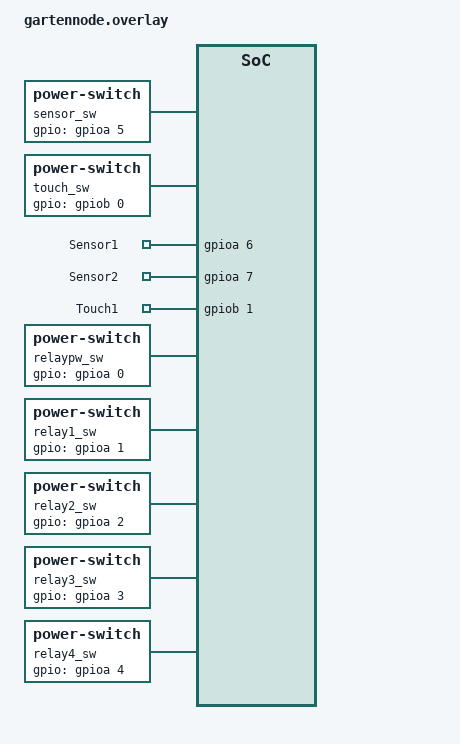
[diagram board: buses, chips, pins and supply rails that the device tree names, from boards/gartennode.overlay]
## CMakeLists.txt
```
cmake_minimum_required(VERSION 3.20.0)

list(APPEND BOARD_ROOT ${CMAKE_CURRENT_SOURCE_DIR})

macro(app_set_runner_args)
  board_runner_args(canopen "--node-id=${CONFIG_CANOPEN_NODE_ID}")
endmacro()

find_package(Zephyr REQUIRED HINTS $ENV{ZEPHYR_BASE})
project(gartennode_wasserverteiler)
FILE(GLOB app_sources src/*.c)
target_sources(app PRIVATE ${app_sources} objdict/CO_OD.c)
zephyr_include_directories(objdict src)
```

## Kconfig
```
#
# Copyright (c) 2019 Vestas Wind Systems A/S
#
# SPDX-License-Identifier: Apache-2.0
#

config CANOPEN_NODE_ID
	int "CANopen node ID"
	default 10
	range 1 127
	help
	  7-bit CANopen Node ID

config WASSERVERTEILER_UPDATE_DIAGNOSTICS
	bool "Record CANopen update timing and reset causes"
	depends on CANOPENNODE_PROGRAM_DOWNLOAD && SOC_FAMILY_STM32
	select HWINFO
	select LOG_RUNTIME_FILTERING
	help
	  Record download progress and callback latency without changing the
	  flash operation. Suppress sensor log noise to preserve diagnostic
	  buffer space. Intended for hardware update regression tests.

# Match Gartennode's scratch layout, not Zephyr's newer offset-swap default.
# Defaults leave native_sim, which does not use MCUboot, unaffected.
choice MCUBOOT_BOOTLOADER_MODE
	default MCUBOOT_BOOTLOADER_MODE_SWAP_SCRATCH if BOARD_GARTENNODE && BOOTLOADER_MCUBOOT
endchoice

config MCUBOOT_IMGTOOL_SIGN_VERSION
	default "0.1.0" if BOARD_GARTENNODE && BOOTLOADER_MCUBOOT

config MCUBOOT_EXTRA_IMGTOOL_ARGS
	default "--pad" if BOARD_GARTENNODE && BOOTLOADER_MCUBOOT

source "Kconfig.zephyr"
```

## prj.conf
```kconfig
# Print a banner on the UART on startup.
CONFIG_BOOT_BANNER=y

CONFIG_LOG=y
CONFIG_LOG_BACKEND_UART=y
CONFIG_CANOPENNODE_LOG_LEVEL_DBG=y
CONFIG_MULTITHREADING=y
CONFIG_WDT_LOG_LEVEL_DBG=y
CONFIG_WDT_DISABLE_AT_BOOT=y
CONFIG_WATCHDOG=y
CONFIG_TASK_WDT=y
CONFIG_TASK_WDT_MIN_TIMEOUT=500
CONFIG_THREAD_NAME=y
CONFIG_HEAP_MEM_POOL_SIZE=1024

CONFIG_GPIO=y
#CONFIG_ADC=y
CONFIG_SENSOR=y
CONFIG_FLASH=y
CONFIG_FLASH_MAP=y
CONFIG_STREAM_FLASH=y
CONFIG_SETTINGS=y
CONFIG_SETTINGS_NVS=y
CONFIG_NVS=y

CONFIG_CAN=y
#CONFIG_CAN_MAX_FILTER=13

CONFIG_MAIN_STACK_SIZE=2048

CONFIG_CANOPENNODE=y
CONFIG_CANOPENNODE_SYNC_THREAD=y
CONFIG_CANOPENNODE_STORAGE=y
CONFIG_MPU_ALLOW_FLASH_WRITE=y
CONFIG_CANOPENNODE_LEDS=y
CONFIG_CANOPENNODE_PROGRAM_DOWNLOAD=y
CONFIG_CANOPEN_NODE_ID=14
CONFIG_SETTINGS_LOG_LEVEL_DBG=y

CONFIG_LOG_PRINTK=y
CONFIG_REBOOT=y
# Enable Zephyr application to be booted by MCUboot
CONFIG_BOOTLOADER_MCUBOOT=y

# PROGRAM_CTRL_CLEAR erases the complete secondary slot before download.
# Do not erase sectors again while handling SDO data.
CONFIG_IMG_ERASE_PROGRESSIVELY=n
CONFIG_STREAM_FLASH_ERASE=n

# Use the default MCUBoot PEM key file (BOOT_SIGNATURE_KEY_FILE)
CONFIG_MCUBOOT_SIGNATURE_KEY_FILE="bootloader/mcuboot/gartennode.pem"
```

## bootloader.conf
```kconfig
# Gartennode has a 192 KiB external secondary slot and a separate scratch area.
CONFIG_BOOT_SWAP_USING_SCRATCH=y
CONFIG_BOOT_SIGNATURE_TYPE_ED25519=y
CONFIG_BOOT_SIGNATURE_KEY_FILE="gartennode.pem"
CONFIG_BOOT_VALIDATE_SLOT0=y
# Bootloader watchdog policy is separate from the application's configuration.
CONFIG_WATCHDOG=n
```

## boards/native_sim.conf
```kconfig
CONFIG_BOOTLOADER_MCUBOOT=n
CONFIG_MCUBOOT_SIGNATURE_KEY_FILE=""
CONFIG_CAN=y
CONFIG_CAN_NATIVE_UDP=y
CONFIG_CAN_NATIVE_UDP_RX_THREAD_PRIORITY=1
CONFIG_CANOPENNODE_SYNC_THREAD=n
CONFIG_CANOPENNODE_PROGRAM_DOWNLOAD=n
CONFIG_CANOPENNODE_STORAGE=n
CONFIG_CANOPEN_NODE_ID=14
CONFIG_FLASH=n
CONFIG_FLASH_PAGE_LAYOUT=n
CONFIG_FLASH_MAP=n
CONFIG_STREAM_FLASH=n
CONFIG_MPU_ALLOW_FLASH_WRITE=n
CONFIG_NVS=n
CONFIG_SETTINGS=n
CONFIG_SETTINGS_NVS=n
CONFIG_SETTINGS_LOG_LEVEL_DBG=n
CONFIG_WATCHDOG=n
CONFIG_WDT_DISABLE_AT_BOOT=n
CONFIG_WDT_LOG_LEVEL_DBG=n
CONFIG_TASK_WDT=n
CONFIG_LOG_BACKEND_UART=n
CONFIG_GPIO=y
CONFIG_EMUL=y
CONFIG_GPIO_EMUL=y
```

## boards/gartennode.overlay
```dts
/*
 * Copyright (c) 2022 Google LLC.
 *
 * SPDX-License-Identifier: Apache-2.0
 */

/ {
	sensor_sw: sensor_sw {
		compatible = "power-switch";
		gpios = <&gpioa 5 (GPIO_PULL_DOWN | GPIO_ACTIVE_HIGH)>;
		status = "okay";
	};
	touch_sw: touch_sw {
		compatible = "power-switch";
		gpios = <&gpiob 0 GPIO_ACTIVE_HIGH>;
		status = "okay";
	};

	buttons {
		compatible = "gpio-keys";
		sensor1: sensor1 {
			gpios = <&gpioa 6 GPIO_ACTIVE_HIGH>;
			label = "Sensor1";
		};
		sensor2: sensor2 {
			gpios = <&gpioa 7 GPIO_ACTIVE_HIGH>;
			label = "Sensor2";
		};
		touch1: touch1 {
			gpios = <&gpiob 1 GPIO_ACTIVE_HIGH>;
			label = "Touch1";
		};
	};

	relaypw_sw: relaypw_sw {
		compatible = "power-switch";
		/* using built-in LED pin for demonstration */
		gpios = <&gpioa 0 (GPIO_PULL_DOWN | GPIO_ACTIVE_HIGH)>;
		status = "okay";
	};
	relay1_sw: relay1_sw {
		compatible = "power-switch";
		/* using built-in LED pin for demonstration */
		gpios = <&gpioa 1 (GPIO_PULL_DOWN | GPIO_ACTIVE_HIGH)>;
		status = "okay";
	};
	relay2_sw: relay2_sw {
		compatible = "power-switch";
		/* using built-in LED pin for demonstration */
		gpios = <&gpioa 2 (GPIO_PULL_DOWN | GPIO_ACTIVE_HIGH)>;
		status = "okay";
	};
	relay3_sw: relay3_sw {
		compatible = "power-switch";
		/* using built-in LED pin for demonstration */
		gpios = <&gpioa 3 (GPIO_PULL_DOWN | GPIO_ACTIVE_HIGH)>;
		status = "okay";
	};
	relay4_sw: relay4_sw {
		compatible = "power-switch";
		/* using built-in LED pin for demonstration */
		gpios = <&gpioa 4 (GPIO_PULL_DOWN | GPIO_ACTIVE_HIGH)>;
		status = "okay";
	};

	aliases {
		green-led = &green_led;
	};
};
```

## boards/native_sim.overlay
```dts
/ {
	chosen {
		zephyr,canbus = &can_udp0;
	};

	can_udp0: udp-can {
		compatible = "zephyr,native-linux-udp-can";
		host = "127.0.0.1";
		port = <46100>;
		local-port = <46112>;
		status = "okay";
	};

	sensor_sw: sensor-switch {
		compatible = "power-switch";
		gpios = <&gpio0 0 GPIO_ACTIVE_HIGH>;
		status = "okay";
	};
	touch_sw: touch-switch {
		compatible = "power-switch";
		gpios = <&gpio0 1 GPIO_ACTIVE_HIGH>;
		status = "okay";
	};
	buttons {
		compatible = "gpio-keys";
		sensor1: sensor1 { gpios = <&gpio0 2 GPIO_ACTIVE_HIGH>; };
		sensor2: sensor2 { gpios = <&gpio0 3 GPIO_ACTIVE_HIGH>; };
		touch1: touch1 { gpios = <&gpio0 4 GPIO_ACTIVE_HIGH>; };
	};
	relaypw_sw: relaypw-switch {
		compatible = "power-switch";
		gpios = <&gpio0 5 GPIO_ACTIVE_HIGH>;
		status = "okay";
	};
	relay1_sw: relay1-switch {
		compatible = "power-switch";
		gpios = <&gpio0 6 GPIO_ACTIVE_HIGH>;
		status = "okay";
	};
	relay2_sw: relay2-switch {
		compatible = "power-switch";
		gpios = <&gpio0 7 GPIO_ACTIVE_HIGH>;
		status = "okay";
	};
	relay3_sw: relay3-switch {
		compatible = "power-switch";
		gpios = <&gpio0 8 GPIO_ACTIVE_HIGH>;
		status = "okay";
	};
	relay4_sw: relay4-switch {
		compatible = "power-switch";
		gpios = <&gpio0 9 GPIO_ACTIVE_HIGH>;
		status = "okay";
	};
};

&gpio0 {
	status = "okay";
};
```

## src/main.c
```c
#if defined(CONFIG_BOARD_NATIVE_SIM)
#define _POSIX_C_SOURCE 200809L
#endif

/*
 * Copyright (c) 2019 Vestas Wind Systems A/S
 *
 * SPDX-License-Identifier: Apache-2.0
 */

#include <inttypes.h>
#include <zephyr/kernel.h>
#include <zephyr/drivers/gpio.h>
#if defined(CONFIG_BOARD_NATIVE_SIM)
#include <zephyr/drivers/gpio/gpio_emul.h>
#endif
#include <zephyr/drivers/can.h>
#include <zephyr/sys/reboot.h>
#include <zephyr/sys/util.h>
#include <string.h>
#include <zephyr/settings/settings.h>
#include <zephyr/drivers/sensor.h>
#include <zephyr/drivers/sensor/w1_sensor.h>
#include <zephyr/storage/flash_map.h>
#include <zephyr/sys/printk.h>
#include <canopennode.h>
#include "native_sim_gpio.h"
#if defined(CONFIG_BOARD_NATIVE_SIM)
#include <time.h>
K_SEM_DEFINE(native_sim_can_rx_wakeup, 0, 1);
#endif
#include "valve.h"
#include "relais.h"
#include "watchdog.h"
#include "update_control.h"
#include "update_diagnostics.h"
#include "sensor.h"
#include "touch.h"
#include "led.h"

#define LOG_LEVEL CONFIG_CANOPENNODE_LOG_LEVEL
#include <zephyr/logging/log.h>
LOG_MODULE_REGISTER(app);

#if defined(CONFIG_BOARD_NATIVE_SIM)
static int64_t native_sim_monotonic_ms(void)
{
	struct timespec now;

	clock_gettime(CLOCK_MONOTONIC, &now);
	return (int64_t)now.tv_sec * 1000 + now.tv_nsec / 1000000;
}

static void native_sim_can_bus_activity(const struct device *dev,
					struct can_frame *frame, void *user_data)
{
	ARG_UNUSED(dev);
	ARG_UNUSED(frame);
	ARG_UNUSED(user_data);
	k_sem_give(&native_sim_can_rx_wakeup);
}

static void native_sim_update_hall_inputs(void)
{
	static const struct gpio_dt_spec hall[] = {
		GPIO_DT_SPEC_GET(DT_NODELABEL(sensor1), gpios),
		GPIO_DT_SPEC_GET(DT_NODELABEL(sensor2), gpios),
	};

	uint8_t states[ARRAY_SIZE(hall)];
	uint8_t hall_override[ARRAY_SIZE(hall)];
	bool has_hall_override = native_sim_gpio_receive_hall(
		hall_override, ARRAY_SIZE(hall_override));

	for (int i = 0; i < ARRAY_SIZE(hall); i++) {
		/* Energized motor windings release the Hall switch during travel. */
		bool moving = OD_relaisState[i * 2] || OD_relaisState[i * 2 + 1];
		bool high = has_hall_override
			? hall_override[i] != 0U
			: moving || OD_valveState[i] != 0U;

		(void)gpio_emul_input_set(hall[i].port, hall[i].pin, high);
		states[i] = (uint8_t)(gpio_pin_get_dt(&hall[i]) > 0);
	}
	native_sim_gpio_publish(46007U, states, ARRAY_SIZE(states));
}
#endif

static CO_SDO_abortCode_t odf_2102(CO_ODF_arg_t *odf_arg);
static CO_SDO_abortCode_t odf_2103(CO_ODF_arg_t *odf_arg);
static CO_SDO_abortCode_t odf_2105(CO_ODF_arg_t *odf_arg);
static CO_SDO_abortCode_t odf_2107(CO_ODF_arg_t *odf_arg);
static CO_SDO_abortCode_t odf_2109(CO_ODF_arg_t *odf_arg);
static CO_SDO_abortCode_t odf_2111(CO_ODF_arg_t *odf_arg);
static CO_SDO_abortCode_t odf_2112(CO_ODF_arg_t *odf_arg);
static CO_SDO_abortCode_t odf_2113(CO_ODF_arg_t *odf_arg);

#define STORAGE_PARTITION	storage_partition
#define STORAGE_PARTITION_ID	FIXED_PARTITION_ID(STORAGE_PARTITION)

#define CAN_INTERFACE DEVICE_DT_GET(DT_CHOSEN(zephyr_canbus))
#define CAN_BITRATE (DT_PROP_OR(DT_CHOSEN(zephyr_canbus), bitrate, \
					  DT_PROP_OR(DT_CHOSEN(zephyr_canbus), bus_speed, \
						     CONFIG_CAN_DEFAULT_BITRATE)) / 1000)


/**
 * @brief Watchdog callback function
 *
 * @param channel_id Watchdog channel ID
 * @param user_data Pointer to user data (thread ID)
 */
static void main_watchdog_callback(int channel_id, void *user_data)
{
    LOG_ERR("Watchdog channel %d callback, user data: %p",
        channel_id, k_thread_name_get((k_tid_t)user_data));
	sys_reboot(SYS_REBOOT_COLD);
}

/**
 * @brief Configure LED indicators pins and callbacks.
 *
 * This routine configures the GPIOs for the red and green LEDs (if
 * available).
 *
 * @param nmt CANopenNode NMT object.
 */
static void initialize()
{
	if (led_init() != 0) {
		LOG_ERR("LED initialization failed");
	}
	if (sensor_init() != 0) {
		LOG_ERR("Sensor initialization failed");
	}
	if (relais_init() != 0) {
		LOG_ERR("Relais initialization failed");
	}
	if (touch_init() != 0) {
		LOG_ERR("Touch initialization failed");
	}
	// if (watchdog_init() != 0) {
	// 	LOG_ERR("Watchdog initialization failed");
	// }
}

/**
 * @brief Set sensor Enable
 *
 * @param odf_arg SDO argument structure.
 * @return SDO abort code.
 */
static CO_SDO_abortCode_t odf_2102(CO_ODF_arg_t *odf_arg)
{
	if (odf_arg->reading) {
		return CO_SDO_AB_NONE;
	}

	uint8_t value;

	if (odf_arg->data == NULL) {
		return CO_SDO_AB_GENERAL;
	}
	value = *odf_arg->data;
	
	int ret = sensor_enable(value);
	LOG_DBG("sensor_enable returned %d", ret);
	if (ret == 0 || ret == 1) {
		return CO_SDO_AB_NONE;
	}
	return CO_SDO_AB_GENERAL;
}

/**
 * @brief Set sensor period
 *
 * @param odf_arg SDO argument structure.
 * @return SDO abort code.
 */
static CO_SDO_abortCode_t odf_2103(CO_ODF_arg_t *odf_arg)
{
	if (odf_arg->reading) {
		return CO_SDO_AB_NONE;
	}
	if (odf_arg->data == NULL) {
		return CO_SDO_AB_GENERAL;
	}
	uint8_t value;
	value = *odf_arg->data;
	LOG_DBG("Set sensor period to %d ms", value);
	return CO_SDO_AB_NONE;
}

/**
 * @brief Set sensor Mapping
 *
 * @param odf_arg SDO argument structure.
 * @return SDO abort code.
 */
static CO_SDO_abortCode_t odf_2105(CO_ODF_arg_t *odf_arg)
{
	if (odf_arg->reading) {
		return CO_SDO_AB_NONE;
	}
	if (odf_arg->data == NULL) {
		return CO_SDO_AB_GENERAL;
	}
	if (odf_arg->subIndex == 0U || odf_arg->subIndex > 2U) {
		return CO_SDO_AB_GENERAL;
	}
	uint8_t value;
	value = *odf_arg->data;
	if (value == 0xFF) {
#ifdef CONFIG_CANOPENNODE_STORAGE
		canopen_storage_erase(CANOPEN_STORAGE_EEPROM);
		return CO_SDO_AB_NONE;
#else
		return CO_SDO_AB_GENERAL;
#endif
	}
	if (value >= 8) {
		LOG_ERR("Mapping value not possible");
		return CO_SDO_AB_GENERAL;
	}
	// memcpy(odf_arg->ODdataStorage, odf_arg->data, sizeof(uint8_t));

	renew_sensor_mapping();
	return CO_SDO_AB_NONE;
}

/**
 * @brief Set relais command
 *
 * @param odf_arg SDO argument structure.
 * @return SDO abort code.
 */
static CO_SDO_abortCode_t odf_2107(CO_ODF_arg_t *odf_arg)
{
	if (odf_arg->data == NULL) {
		return CO_SDO_AB_GENERAL;
	}
	if (odf_arg->subIndex == 0U) {
		return CO_SDO_AB_GENERAL;
	}

	uint8_t value;
	value = *odf_arg->data;
	if (valve_set_state((odf_arg->subIndex - 1)>>1, 0xFF) != 0) {
		return CO_SDO_AB_GENERAL;
	}
	return CO_SDO_AB_NONE;
}

/**
 * @brief Set valve order
 *
 * @param odf_arg SDO argument structure.
 * @return SDO abort code.
 */
static CO_SDO_abortCode_t odf_2109(CO_ODF_arg_t *odf_arg)
{
	if (odf_arg->data == NULL) {
		return CO_SDO_AB_GENERAL;
	}
	if (odf_arg->subIndex == 0U) {
		return CO_SDO_AB_GENERAL;
	}
	if (odf_arg->subIndex > 2) {
		LOG_ERR("SubIndex not possible");
		return CO_SDO_AB_GENERAL;
	}
	uint8_t value;
	value = *odf_arg->data;
	if (valve_order(odf_arg->subIndex - 1, (bool)value) != 0) {
		return CO_SDO_AB_GENERAL;
	}
	return CO_SDO_AB_NONE;
}

/**
 * @brief Set valve routine time
 *
 * @param odf_arg SDO argument structure.
 * @return SDO abort code.
 */
static CO_SDO_abortCode_t odf_2110(CO_ODF_arg_t *odf_arg)
{
	if (odf_arg->reading) {
		return CO_SDO_AB_NONE;
	}
	if (odf_arg->data == NULL) {
		return CO_SDO_AB_GENERAL;
	}
	uint32_t value;
	value = (*(uint32_t *)(odf_arg->data));
	LOG_DBG("Set valve routine time to %"PRIu32" ms", value);
	return CO_SDO_AB_NONE;
}

/**
 * @brief Set valve Mapping
 *
 * @param odf_arg SDO argument structure.
 * @return SDO abort code.
 */
static CO_SDO_abortCode_t odf_2111(CO_ODF_arg_t *odf_arg)
{
	if (odf_arg->reading) {
		return CO_SDO_AB_NONE;
	}
	if (odf_arg->data == NULL) {
		return CO_SDO_AB_GENERAL;
	}
	if (odf_arg->subIndex == 0U || odf_arg->subIndex > 4U) {
		return CO_SDO_AB_GENERAL;
	}
	uint8_t value;
	value = *odf_arg->data;
	if (value >= 4) {
		LOG_ERR("Mapping value not possible");
		return CO_SDO_AB_GENERAL;
	}
	// memcpy(odf_arg->ODdataStorage, odf_arg->data, sizeof(uint8_t));

	return CO_SDO_AB_NONE;
}

/**
 * @brief Set touch Enable
 *
 * @param odf_arg SDO argument structure.
 * @return SDO abort code.
 */
static CO_SDO_abortCode_t odf_2112(CO_ODF_arg_t *odf_arg)
{
	if (odf_arg->reading) {
		return CO_SDO_AB_NONE;
	}

	uint8_t value;

	if (odf_arg->data == NULL) {
		return CO_SDO_AB_GENERAL;
	}
	value = *odf_arg->data;
	LOG_DBG("Set touch enable to %d", value);
	int ret = touch_enable(value);
	LOG_DBG("touch_enable returned %d", ret);
	if (ret == 0 || ret == 1) {
		return CO_SDO_AB_NONE;
	}
	return CO_SDO_AB_GENERAL;
}

/**
 * @brief Set touch valve index
 *
 * @param odf_arg SDO argument structure.
 * @return SDO abort code.
 */
static CO_SDO_abortCode_t odf_2113(CO_ODF_arg_t *odf_arg)
{
	if (odf_arg->reading) {
		return CO_SDO_AB_GENERAL;
	}

	uint8_t value;

	if (odf_arg->data == NULL) {
		return CO_SDO_AB_GENERAL;
	}
	value = *odf_arg->data;
	
	if (value >= 2) {
		return CO_SDO_AB_GENERAL;
	}
	// memcpy(odf_arg->ODdataStorage, odf_arg->data, sizeof(uint8_t));
	return CO_SDO_AB_NONE;
}

/**
 * @brief Main application entry point.
 *
 * The main application thread is responsible for initializing the
 * CANopen stack and doing the non real-time processing.
 */
int main(void)
{
	CO_NMT_reset_cmd_t reset = CO_RESET_NOT;
	CO_ReturnError_t err;
	struct canopen_context can;
	uint16_t timeout;
	uint32_t elapsed;
	int64_t timestamp;
	int task_id = -1;
#ifdef CONFIG_CANOPENNODE_STORAGE
	int ret;
#endif /* CONFIG_CANOPENNODE_STORAGE */
	can.dev = CAN_INTERFACE;
	if (!device_is_ready(can.dev)) {
		LOG_ERR("CAN interface not ready");
		return 0;
	}

#ifdef CONFIG_CANOPENNODE_STORAGE
	LOG_INF("Initializing settings subsystem\n");
	ret = settings_subsys_init();
	if (ret) {
		LOG_ERR("failed to initialize settings subsystem (err = %d)",
			ret);
		int error = 0;
		const struct flash_area *storage = NULL;
		// Open the partition
		error = flash_area_open(PARTITION_ID(storage_partition), &storage);
		if (error < 0) {
			return error;
		}

		// Erase the first sector (e.g., 4KB)
		error = flash_area_erase(storage, 0, PARTITION_SIZE(storage_partition));
		if (error < 0) {
			return error;
		}
		sys_reboot(SYS_REBOOT_COLD);
	}

	ret = settings_load();
	if (ret) {
		LOG_ERR("failed to load settings (err = %d)", ret);
		return 0;
	}
#endif /* CONFIG_CANOPENNODE_STORAGE */

	OD_powerOnCounter++;

	//task_id = watchdog_add(2000, main_watchdog_callback, NULL);
	if (task_id < 0) {
		LOG_ERR("Failed to add watchdog channel");
	}

	while (reset != CO_RESET_APP) {
		elapsed =  0U; /* milliseconds */

		LOG_INF("CANopen stack initialize");
		err = CO_init(&can, CONFIG_CANOPEN_NODE_ID, CAN_BITRATE);
		if (err != CO_ERROR_NO) {
			LOG_ERR("CO_init failed (err = %d)", err);
			return 0;
		}
		LOG_INF("CANopen stack initialized");

#ifdef CONFIG_CANOPENNODE_STORAGE
		canopen_storage_attach(CO->SDO[0], CO->em);
#endif /* CONFIG_CANOPENNODE_STORAGE */

		initialize();
		led_configure(CO->NMT);
		CO_OD_configure(CO->SDO[0], OD_2102_sensorEnable,
				odf_2102, NULL, 0U, 0U);
		CO_OD_configure(CO->SDO[0], OD_2103_sensorPeriode,
				odf_2103, NULL, 0U, 0U);
		CO_OD_configure(CO->SDO[0], OD_2105_sensorMapping,
				odf_2105, NULL, 0U, 0U);
		CO_OD_configure(CO->SDO[0], OD_2107_relaisCmd,
				odf_2107, NULL, 0U, 0U);
		CO_OD_configure(CO->SDO[0], OD_2109_valveCmd,
				odf_2109, NULL, 0U, 0U);
		CO_OD_configure(CO->SDO[0], OD_2110_valveRoutineTime,
				odf_2110, NULL, 0U, 0U);
		CO_OD_configure(CO->SDO[0], OD_2111_valveMapping,
				odf_2111, NULL, 0U, 0U);
		CO_OD_configure(CO->SDO[0], OD_2112_touchEnable,
				odf_2112, NULL, 0U, 0U);
		CO_OD_configure(CO->SDO[0], OD_2113_touchValveIndex,
				odf_2113, NULL, 0U, 0U);

		if (IS_ENABLED(CONFIG_CANOPENNODE_PROGRAM_DOWNLOAD)) {
			canopen_program_download_attach(CO->NMT, CO->SDO[0],
							CO->em);
			wasserverteiler_update_control_attach(CO->SDO[0]);
#if defined(CONFIG_WASSERVERTEILER_UPDATE_DIAGNOSTICS)
			wasserverteiler_update_diagnostics_attach(CO->SDO[0]);
#endif
		}

#if defined(CONFIG_BOARD_NATIVE_SIM)
		const struct can_filter native_sim_wakeup_filter = {
			.id = 0U,
			.mask = 0U,
		};
		int native_sim_wakeup_filter_id =
			can_add_rx_filter(can.dev, native_sim_can_bus_activity, NULL,
					  &native_sim_wakeup_filter);
		if (native_sim_wakeup_filter_id < 0) {
			LOG_ERR("Failed to add native-sim CAN activity filter: %d",
				native_sim_wakeup_filter_id);
		}
#endif

#if defined(CONFIG_BOARD_NATIVE_SIM)
		sensor_enable(true);
#else
		sensor_enable(OD_sensorEnable);
#endif

		CO_CANsetNormalMode(CO->CANmodule[0]);
		struct sCO_OD_EEPROM eeprom_old = CO_OD_EEPROM;

		while (true) {
			timeout = 1U; /* default timeout in milliseconds */
#if defined(CONFIG_BOARD_NATIVE_SIM)
			timestamp = native_sim_monotonic_ms();
#else
			timestamp = k_uptime_get();
#endif
			reset = CO_process(CO, (uint16_t)elapsed, &timeout);

			if (reset != CO_RESET_NOT) {
				break;
			}

			/*
			 * Application work must run regardless of the CANopen stack's
			 * requested sleep timeout. In particular, native-sim can request
			 * immediate processing (timeout == 0) while an SDO valve command
			 * is queued.
			 */
			sensor_process();
			relais_process();
			valve_process();
#if defined(CONFIG_BOARD_NATIVE_SIM)
			native_sim_update_hall_inputs();
			/*
			 * CANopenNode's CO_process() handles SDO/NMT only. The optional
			 * sync thread is disabled in native-sim, so explicitly process
			 * TPDOs here. Do not process RPDOs: valve commands remain SDO-only.
			 */
			CO_process_TPDO(CO, false, elapsed * 1000U);
#endif

			if (timeout > 0) {
#ifdef CONFIG_CANOPENNODE_STORAGE
				ret = memcmp(&eeprom_old, &CO_OD_EEPROM, sizeof(CO_OD_EEPROM));
				if (ret != 0) {
					LOG_DBG("EEPROM changed, saving to flash");
					memcpy(&eeprom_old, &CO_OD_EEPROM, sizeof(CO_OD_EEPROM));
					ret = canopen_storage_save(
						CANOPEN_STORAGE_EEPROM);
					if (ret) {
						LOG_ERR("failed to save EEPROM");
					}
				}

#endif /* CONFIG_CANOPENNODE_STORAGE */
				if (task_id >= 0) {
					int ret = watchdog_feed(task_id);
					if (ret != 0) {
						LOG_ERR("Failed to feed watchdog channel %d: %d", task_id, ret);
					}
				}
				/*
				 * Try to sleep for as long as the
				 * stack requested and calculate the
				 * exact time elapsed.
				 */
#if defined(CONFIG_BOARD_NATIVE_SIM)
				uint32_t wait_ms = MAX(timeout, 10U);
				(void)k_sem_take(&native_sim_can_rx_wakeup, K_MSEC(wait_ms));
				elapsed = (uint32_t)(native_sim_monotonic_ms() - timestamp);
				if (elapsed == 0U) {
					elapsed = 1U;
				}
#else
				k_sleep(K_MSEC(timeout));
				elapsed = (uint32_t)k_uptime_delta(&timestamp);
#endif
			} else {
				/*
				 * Do not sleep, more processing to be
				 * done by the stack.
				 */
#if defined(CONFIG_BOARD_NATIVE_SIM)
				/*
				 * Keep CANopen timers advancing when the stack requests
				 * immediate processing on native_sim.
				 */
				(void)k_sem_take(&native_sim_can_rx_wakeup, K_MSEC(10));
				elapsed = (uint32_t)(native_sim_monotonic_ms() - timestamp);
				if (elapsed == 0U) {
					elapsed = 1U;
				}
#else
				elapsed = 0U;
#endif
			}
		}

        sensor_enable(false);

		if (reset == CO_RESET_COMM) {
			LOG_INF("Resetting communication");
		}
	}
	if (task_id >= 0) {
		int ret = watchdog_delete(task_id);
		if (ret != 0) {
			LOG_ERR("Failed to delete watchdog channel %d: %d", task_id, ret);
		}
	}

	LOG_INF("Resetting device");

	CO_delete(&can);
	sys_reboot(SYS_REBOOT_COLD);
}
```

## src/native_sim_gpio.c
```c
#include "native_sim_gpio.h"
#include <string.h>
#include <zephyr/sys/util.h>

#if defined(CONFIG_BOARD_NATIVE_SIM)
#include <zephyr/kernel.h>
#include <arpa/inet.h>
#include <fcntl.h>
#include <netinet/in.h>
#include <sys/socket.h>
#include <unistd.h>

#define HALL_INPUT_PORT 46010

static int hall_input_socket = -1;
static bool hall_input_initialized;
static uint8_t hall_input_snapshot[2];

bool native_sim_gpio_receive_hall(uint8_t *values, size_t count)
{
	struct sockaddr_in address = {
		.sin_family = AF_INET,
		.sin_addr.s_addr = htonl(INADDR_ANY),
		.sin_port = htons(HALL_INPUT_PORT),
	};

	if (values == NULL || count != ARRAY_SIZE(hall_input_snapshot)) {
		return false;
	}

	if (hall_input_socket < 0) {
		hall_input_socket = socket(AF_INET, SOCK_DGRAM, 0);
		if (hall_input_socket < 0) {
			return false;
		}
		int flags = fcntl(hall_input_socket, F_GETFL, 0);
		if (flags < 0 || fcntl(hall_input_socket, F_SETFL, flags | O_NONBLOCK) < 0 ||
		    bind(hall_input_socket, (struct sockaddr *)&address, sizeof(address)) < 0) {
			close(hall_input_socket);
			hall_input_socket = -1;
			return false;
		}
	}

	uint8_t incoming[sizeof(hall_input_snapshot)];
	ssize_t received;
	while ((received = recvfrom(hall_input_socket, incoming, sizeof(incoming),
				    MSG_DONTWAIT, NULL, NULL)) > 0) {
		if (received == (ssize_t)sizeof(hall_input_snapshot) &&
		    incoming[0] <= 1U && incoming[1] <= 1U) {
			memcpy(hall_input_snapshot, incoming, sizeof(hall_input_snapshot));
			hall_input_initialized = true;
		}
	}

	if (!hall_input_initialized) {
		return false;
	}
	memcpy(values, hall_input_snapshot, sizeof(hall_input_snapshot));
	return true;
}

void native_sim_gpio_publish(uint16_t companion_port, const uint8_t *values,
			     size_t count)
{
	static int socket_fd = -1;
	struct snapshot {
		uint16_t port;
		uint8_t values[64];
		size_t count;
		int64_t sent_at;
		bool initialized;
	};
	static struct snapshot snapshots[4];
	struct snapshot *snapshot = NULL;
	struct sockaddr_in destination = {
		.sin_family = AF_INET,
		.sin_addr.s_addr = htonl(INADDR_LOOPBACK),
	};

	if (values == NULL || count == 0U || count > 64U) {
		return;
	}
	for (size_t i = 0; i < ARRAY_SIZE(snapshots); i++) {
		if (snapshots[i].port == companion_port || snapshots[i].port == 0U) {
			snapshot = &snapshots[i];
			if (snapshot->port == 0U) snapshot->port = companion_port;
			break;
		}
	}
	if (snapshot == NULL) return;
	int64_t now = k_uptime_get();
	bool changed = !snapshot->initialized || snapshot->count != count ||
		memcmp(snapshot->values, values, count) != 0;
	if (!changed && now - snapshot->sent_at < 1000) return;
	if (socket_fd < 0) {
		socket_fd = socket(AF_INET, SOCK_DGRAM, 0);
	}
	if (socket_fd < 0) {
		return;
	}
	destination.sin_port = htons(companion_port);
	if (sendto(socket_fd, values, count, 0, (struct sockaddr *)&destination,
		   sizeof(destination)) == (ssize_t)count) {
		memcpy(snapshot->values, values, count);
		snapshot->count = count;
		snapshot->sent_at = now;
		snapshot->initialized = true;
	}
}
#else
void native_sim_gpio_publish(uint16_t companion_port, const uint8_t *values,
			     size_t count)
{
	ARG_UNUSED(companion_port);
	ARG_UNUSED(values);
	ARG_UNUSED(count);
}

bool native_sim_gpio_receive_hall(uint8_t *values, size_t count)
{
	ARG_UNUSED(values);
	ARG_UNUSED(count);
	return false;
}
#endif
```

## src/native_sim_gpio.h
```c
#ifndef NATIVE_SIM_GPIO_H
#define NATIVE_SIM_GPIO_H

#include <stdbool.h>
#include <stddef.h>
#include <stdint.h>

void native_sim_gpio_publish(uint16_t companion_port, const uint8_t *values,
			     size_t count);
bool native_sim_gpio_receive_hall(uint8_t *values, size_t count);

#endif
```

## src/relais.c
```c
#include <zephyr/logging/log.h>
#include <zephyr/drivers/gpio.h>
#if defined(CONFIG_BOARD_NATIVE_SIM)
#include <zephyr/drivers/gpio/gpio_emul.h>
#endif
#include <canopennode.h>
#include "relais.h"
#include "native_sim_gpio.h"

LOG_MODULE_REGISTER(relais, CONFIG_CANOPENNODE_LOG_LEVEL);


static struct gpio_dt_spec relaypw_sw =
	GPIO_DT_SPEC_GET_OR(DT_NODELABEL(relaypw_sw), gpios, {0});
static struct gpio_dt_spec relay1_sw =
	GPIO_DT_SPEC_GET_OR(DT_NODELABEL(relay1_sw), gpios, {0});
static struct gpio_dt_spec relay2_sw =
	GPIO_DT_SPEC_GET_OR(DT_NODELABEL(relay2_sw), gpios, {0});
static struct gpio_dt_spec relay3_sw =
	GPIO_DT_SPEC_GET_OR(DT_NODELABEL(relay3_sw), gpios, {0});
static struct gpio_dt_spec relay4_sw =
	GPIO_DT_SPEC_GET_OR(DT_NODELABEL(relay4_sw), gpios, {0});

static struct gpio_dt_spec *relais[4] = {
	&relay1_sw,
	&relay2_sw,
	&relay3_sw,
	&relay4_sw
};

#if defined(CONFIG_BOARD_NATIVE_SIM)
static void publish_relay_gpio_state(void)
{
	uint8_t states[ARRAY_SIZE(relais)];

	for (size_t i = 0; i < ARRAY_SIZE(relais); i++) {
		int value = gpio_emul_output_get_dt(relais[i]);

		states[i] = value > 0 ? 1U : 0U;
	}
	native_sim_gpio_publish(46009U, states, ARRAY_SIZE(states));
}
#endif

/**
 * @brief Initialize relais GPIOs
 *
 * @return int 0 on success, -1 on error
 */
int relais_init(void) {
    int err;
	if (!gpio_is_ready_dt(&relaypw_sw)) {
		LOG_ERR("The relaypw_sw switch pin GPIO port is not ready.\n");
		return -1;
	}
	err = gpio_pin_configure_dt(&relaypw_sw, GPIO_OUTPUT_ACTIVE);
	if (err != 0) {
		LOG_ERR("Configuring relaypw_sw switch GPIO pin failed: %d\n", err);
		return -1;
	}
    for (int i = 0; i < 4; i++) {
        if (!gpio_is_ready_dt(relais[i])) {
            LOG_ERR("The relais%d_sw switch pin GPIO port is not ready.\n", i+1);
            return -1;
        }
        err = gpio_pin_configure_dt(relais[i], GPIO_OUTPUT_INACTIVE);
        if (err != 0) {
            LOG_ERR("Configuring relais%d_sw switch GPIO pin failed: %d\n", i+1, err);
            return -1;
        }
    }
#if defined(CONFIG_BOARD_NATIVE_SIM)
	publish_relay_gpio_state();
#endif
    return 0;
}

/**
 * @brief Set Relais state
 * 
 * @param idx Relais index (0-3)
 * @param value Relais state (0=off, 1=on)
 * @return int 0 on success, -1 on error
 */
// int relais_set(uint8_t idx, bool value) {
//     int err;
//     if (idx >= 4) {
//         LOG_ERR("Relais index out of range");
//         return -1;
//     }
//     err = gpio_pin_set_dt(relais[idx], value);
//     if (err != 0) {
//         LOG_ERR("Setting relais%d switch GPIO pin level failed: %d", idx+1, err);
//         return -1;
//     }
//     CO_LOCK_OD();
//     OD_relaisState[idx] = (BOOLEAN)value;
//     CO_UNLOCK_OD();
//     return 0;
// }

/**
 *  @brief process relais commands
 *
 *  @return 0 on success, -1 on error
 */
int relais_process(void) {
	int err;
	for (uint8_t i=0;i<4;i++) {
		if (OD_relaisState[i] != (BOOLEAN)(OD_relaisCmd[i])) {
			LOG_DBG("Processing relais%d command: %d", i+1, (uint8_t)OD_relaisCmd[i]);
			int set_value = 0; 
			if ((int)(OD_relaisCmd[i]) != 0) {
				set_value = 1;
			}
			err = gpio_pin_set_dt(relais[i], set_value);
			if (err != 0) {
				LOG_ERR("Setting relais switch GPIO pin level failed: %d", err);
				return -1;
			}
			CO_LOCK_OD();
			OD_relaisState[i] = (BOOLEAN)set_value;
			CO_UNLOCK_OD();
		}
	}
#if defined(CONFIG_BOARD_NATIVE_SIM)
	publish_relay_gpio_state();
#endif
	return 0;
}
```

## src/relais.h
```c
#ifndef _RELAIS_H
#define _RELAIS_H

#include <zephyr/kernel.h>

#if !DT_NODE_EXISTS(DT_NODELABEL(relaypw_sw))
#error "Overlay for relaypw_sw output node not properly defined."
#endif
#if !DT_NODE_EXISTS(DT_NODELABEL(relay1_sw))
#error "Overlay for relay1_sw output node not properly defined."
#endif
#if !DT_NODE_EXISTS(DT_NODELABEL(relay2_sw))
#error "Overlay for relay2_sw output node not properly defined."
#endif
#if !DT_NODE_EXISTS(DT_NODELABEL(relay3_sw))
#error "Overlay for relay3_sw output node not properly defined."
#endif
#if !DT_NODE_EXISTS(DT_NODELABEL(relay4_sw))
#error "Overlay for relay4_sw output node not properly defined."
#endif

int relais_init(void);
// int relais_set(uint8_t idx, bool value);
int relais_process(void);

#endif /* _RELAIS_H */
```

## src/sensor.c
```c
#include <zephyr/kernel.h>
#include <zephyr/drivers/gpio.h>
#include <zephyr/sys/reboot.h>
#include <zephyr/sys/util.h>
#include <zephyr/logging/log.h>
#include <canopennode.h>
#include "sensor.h"
#include "watchdog.h"
#include "valve.h"

#define SENSOR_STACK 1024

LOG_MODULE_REGISTER(sensor, CONFIG_CANOPENNODE_LOG_LEVEL);
K_THREAD_STACK_DEFINE(sensor_stack_area, SENSOR_STACK);

static void sensor_watchdog_callback(int channel_id, void *user_data);

typedef struct {
	uint8_t idx;
	bool state;
	bool value;
}sensor_valve_state_t;

static struct gpio_dt_spec sensor_sw =
	GPIO_DT_SPEC_GET_OR(DT_NODELABEL(sensor_sw), gpios, {0});
static struct gpio_dt_spec sensor1 =
	GPIO_DT_SPEC_GET_OR(DT_NODELABEL(sensor1), gpios, {0});
static struct gpio_dt_spec sensor2 =
	GPIO_DT_SPEC_GET_OR(DT_NODELABEL(sensor2), gpios, {0});

static struct gpio_dt_spec *sensors[2] = {
	&sensor1,
	&sensor2
};

static sensor_valve_state_t sensor_valve_state[2] = {
	{0, false, false},
	{1, false, false}
};
static volatile bool renew_mapping = true;
static bool sensor_loop = false;
static _thread_t sensor_thread;
static k_tid_t sensor_tid;
static bool sensor_value[2] = {false};


/**
 * @brief Renew sensor to valve mapping
 */
void renew_sensor_mapping(void) {
	renew_mapping = true;
}

/**
 * @brief Update sensor to valve mapping
 */
void sensor_mapping_update(void) {
	for (int i=0;i<2;i++) {
		uint8_t mapping = OD_sensorMapping[i];
		if (mapping >= 8) {
			LOG_ERR("Sensor mapping value not valid");
			continue;
		}
		sensor_valve_state[i].idx = mapping >> 2;
		sensor_valve_state[i].state = ((mapping >> 1) & 0x01) ? true : false;
		sensor_valve_state[i].value = (mapping & 0x01) ? true : false;
	}
}
/**
 * @brief Initialize sensor GPIOs
 */
int sensor_init(void)
{
    int err;
    
    if (!gpio_is_ready_dt(&sensor_sw)) {
        LOG_ERR("The sensor switch pin GPIO port is not ready.\n");
        return -1;
    }
    err = gpio_pin_configure_dt(&sensor_sw, GPIO_OUTPUT_INACTIVE);
    if (err != 0) {
        LOG_ERR("Configuring sensor switch GPIO pin failed: %d\n", err);
        return -1;
    }
    for (int i=0;i<2;i++) {
        if (!gpio_is_ready_dt(sensors[i])) {
            LOG_ERR("The sensor%d pin GPIO port is not ready.\n", i+1);
            return -1;
        }
        err = gpio_pin_configure_dt(sensors[i], GPIO_INPUT);
        if (err != 0) {
            LOG_ERR("Configuring sensor%d GPIO pin failed: %d\n", i+1, err);
            return -1;
        }
    }
	sensor_mapping_update();
    return 0;
}

/**
 * @brief Watchdog callback function
 *
 * @param channel_id Watchdog channel ID
 * @param user_data Pointer to user data (thread ID)
 */
static void sensor_watchdog_callback(int channel_id, void *user_data)
{
    LOG_ERR("Watchdog channel %d callback, user data: %p",
        channel_id, k_thread_name_get((k_tid_t)user_data));
	sys_reboot(SYS_REBOOT_COLD);
}

/**
 * @brief Enable or disable sensor thread
 *
 * @param value true to enable, false to disable
 * @return 0 on success, -1 on error, 1 if already started
 */
int sensor_enable(bool value)
{
	int err;
	if (!gpio_is_ready_dt(&sensor_sw)) {
		LOG_ERR("The sensor switch pin GPIO port is not ready.\n");
		return 10;
	}
    if (value) {
		LOG_DBG("sensor_enable called with value: %d", value);
		err = gpio_pin_set_dt(&sensor_sw, 1);
		if (err != 0) {
			LOG_ERR("Configuring sensor switch GPIO pin failed: %d\n", err);
    		return 11;
		}
		if (OD_sensorEnable == 1) {
			return 1;
		}
		sensor_loop = true;
#if defined(CONFIG_BOARD_NATIVE_SIM)
		CO_LOCK_OD();
		OD_sensorEnable = 1;
		CO_UNLOCK_OD();
#else
		sensor_tid = k_thread_create(&sensor_thread, sensor_stack_area,
                                 K_THREAD_STACK_SIZEOF(sensor_stack_area),
                                 sensor_func,
                                 NULL, NULL, NULL,
                                 K_LOWEST_APPLICATION_THREAD_PRIO, 0, K_NO_WAIT);
#endif
	} else {
		LOG_DBG("sensor_enable called with value: %d", value);
		sensor_loop = false;
		err = gpio_pin_set_dt(&sensor_sw, 0);
		if (err != 0) {
			LOG_ERR("Setting sensor switch GPIO pin level failed: %d\n", err);
    		return 11;
		}
#if defined(CONFIG_BOARD_NATIVE_SIM)
		CO_LOCK_OD();
		OD_sensorEnable = 0;
		CO_UNLOCK_OD();
#endif
    }
    return 0;
}

/**
 * @brief Check if sensor thread is enabled
 *
 * @return true if enabled, false otherwise
 */
bool sensor_enabled(void) {
	return OD_sensorEnable == 1;
}


/**
 * @brief Sensor thread function
 *
 * @param d0 Unused
 * @param d1 Unused
 * @param d2 Unused
 */
void sensor_func(void *d0, void *d1, void *d2) {
	LOG_DBG("start sensor thread");
	// bool set_update = false;
	// int wdg_id = watchdog_add((uint32_t)(2*OD_sensorPeriode), sensor_watchdog_callback,(void *)k_current_get());
	CO_LOCK_OD();
	OD_sensorEnable = 1;
	CO_UNLOCK_OD();
	LOG_DBG("Sensor Period: %d ms", OD_sensorPeriode);
	LOG_DBG("start loop");
    while(sensor_loop) {
		// if (wdg_id >= 0) {
		// 	watchdog_feed(wdg_id);
		// }
		for (int i=0;i<2;i++) {
			if (sensors[i]==NULL) {
				continue;
			}
			if (gpio_pin_get_dt(sensors[i]) != 0) {
				sensor_value[i] = true;
			}else {
				sensor_value[i] = false;
			}

			if ((BOOLEAN)(OD_sensorMeasurement[i]) != (BOOLEAN)sensor_value[i]) {
				CO_LOCK_OD();
				OD_sensorMeasurement[i] = (BOOLEAN)(sensor_value[i]);
				CO_UNLOCK_OD();
				if (sensor_valve_state[i].state == (BOOLEAN)(OD_sensorMeasurement[i])) {
					valve_set_state(sensor_valve_state[i].idx, sensor_valve_state[i].value);
				}
			}
		}
        k_sleep(K_MSEC(OD_sensorPeriode));
    }
	LOG_DBG("stop sensor thread");
	CO_LOCK_OD();
	OD_sensorEnable = 0;
	CO_UNLOCK_OD();
	// if (wdg_id >= 0) {
	// 	watchdog_delete(wdg_id);
	// }
}

/**
 *  @brief process sensor mapping update
 */
int sensor_process(void) {
	if (renew_mapping) {
		sensor_mapping_update();
		renew_mapping = false;
	}
#if defined(CONFIG_BOARD_NATIVE_SIM)
	if (sensor_loop) {
		for (int i = 0; i < ARRAY_SIZE(sensors); i++) {
			bool value = gpio_pin_get_dt(sensors[i]) != 0;

			if ((bool)OD_sensorMeasurement[i] == value) {
				continue;
			}
			CO_LOCK_OD();
			OD_sensorMeasurement[i] = (BOOLEAN)value;
			CO_UNLOCK_OD();
			if (sensor_valve_state[i].state == value) {
				(void)valve_set_state(sensor_valve_state[i].idx,
						      sensor_valve_state[i].value);
			}
		}
	}
#endif
	return 0;
}
```

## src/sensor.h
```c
#ifndef _SENSOR_H
#define _SENSOR_H

#include <zephyr/kernel.h>

#if !DT_NODE_EXISTS(DT_NODELABEL(sensor_sw))
#error "Overlay for sensor_sw output node not properly defined."
#endif
#if !DT_NODE_EXISTS(DT_NODELABEL(sensor1))
#error "Overlay for sensor1 output node not properly defined."
#endif
#if !DT_NODE_EXISTS(DT_NODELABEL(sensor2))
#error "Overlay for sensor2 output node not properly defined."
#endif

void renew_sensor_mapping(void);
void sensor_mapping_update(void);
int sensor_init(void);
void sensor_func(void *d0, void *d1, void *d2);
int sensor_enable(bool value);
bool sensor_enabled(void);
int sensor_process(void);

#endif /* _SENSOR_H */
```

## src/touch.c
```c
#include <zephyr/kernel.h>
#include <zephyr/drivers/gpio.h>
#include <zephyr/sys/reboot.h>
#include <zephyr/logging/log.h>
#include <canopennode.h>
#include "touch.h"
#include "watchdog.h"
#include "valve.h"

#define TOUCH_STACK 1024

LOG_MODULE_REGISTER(touch, CONFIG_CANOPENNODE_LOG_LEVEL);
K_THREAD_STACK_DEFINE(touch_stack_area, TOUCH_STACK);

static void touch_watchdog_callback(int channel_id, void *user_data);

static struct gpio_dt_spec touch_sw =
	GPIO_DT_SPEC_GET_OR(DT_NODELABEL(touch_sw), gpios, {0});
static struct gpio_dt_spec touch1 =
	GPIO_DT_SPEC_GET_OR(DT_NODELABEL(touch1), gpios, {0});

static const uint32_t touch_periode = 500;
static bool touch_loop = false;
static _thread_t touch_thread;
static k_tid_t touch_tid;
static bool touch_value = false;
static bool *touch_value_last = NULL;

/**
 * @brief Initialize touch GPIOs
 */
int touch_init(void)
{
    int err;
    
    if (!gpio_is_ready_dt(&touch_sw)) {
        LOG_ERR("The touch switch pin GPIO port is not ready.\n");
        return -1;
    }
    err = gpio_pin_configure_dt(&touch_sw, GPIO_OUTPUT_INACTIVE);
    if (err != 0) {
        LOG_ERR("Configuring touch switch GPIO pin failed: %d\n", err);
        return -1;
    }

	if (!gpio_is_ready_dt(&touch1)) {
		LOG_ERR("The touch1 pin GPIO port is not ready.\n");
		return -1;
	}
	err = gpio_pin_configure_dt(&touch1, GPIO_INPUT);
	if (err != 0) {
		LOG_ERR("Configuring touch1 GPIO pin failed: %d\n", err);
		return -1;
	}
	return 0;
}

/**
 * @brief Watchdog callback function
 *
 * @param channel_id Watchdog channel ID
 * @param user_data Pointer to user data (thread ID)
 */
static void touch_watchdog_callback(int channel_id, void *user_data)
{
    LOG_ERR("Watchdog channel %d callback, user data: %p",
        channel_id, k_thread_name_get((k_tid_t)user_data));
	sys_reboot(SYS_REBOOT_COLD);
}

/**
 * @brief Enable or disable touch thread
 *
 * @param value true to enable, false to disable
 * @return 0 on success, -1 on error, 1 if already started
 */
int touch_enable(bool value)
{
	int err;
	if (!gpio_is_ready_dt(&touch_sw)) {
		LOG_ERR("The touch switch pin GPIO port is not ready.\n");
		return 10;
	}
	LOG_DBG("touch_enabled called with value: %d", value);
	if (value) {
		err = gpio_pin_set_dt(&touch_sw, 1);
		if (err != 0) {
			LOG_ERR("Configuring touch switch GPIO pin failed: %d\n", err);
			return 11;
		}
		if (OD_touchEnable == 1) {
			LOG_DBG("Thread already started");
			return 1;
		}
		LOG_DBG("Start touch thread");
		touch_loop = true;
		touch_tid = k_thread_create(&touch_thread, touch_stack_area,
								K_THREAD_STACK_SIZEOF(touch_stack_area),
								touch_func,
								NULL, NULL, NULL,
								K_LOWEST_APPLICATION_THREAD_PRIO, 0, K_NO_WAIT);
	} else {
		touch_loop = false;
		err = gpio_pin_set_dt(&touch_sw, 0);
		if (err != 0) {
			LOG_ERR("Setting touch switch GPIO pin level failed: %d\n", err);
			return 11;
		}
	}
	return 0;
}

/**
 * @brief Touch thread function
 *
 * @param d0 Unused
 * @param d1 Unused
 * @param d2 Unused
 */
void touch_func(void *d0, void *d1, void *d2) {
	LOG_DBG("start thread");
	// bool set_update = false;
	// int wdg_id = watchdog_add((uint32_t)(2*touch_periode), touch_watchdog_callback,(void *)k_current_get());
	CO_LOCK_OD();
	OD_touchEnable = 1;
	CO_UNLOCK_OD();
	LOG_DBG("start loop");
	bool touch_value_raw = false;
	while(touch_loop) {
		// if (wdg_id >= 0) {
		// 	watchdog_feed(wdg_id);
		// }
		touch_value_raw = gpio_pin_get_dt(&touch1);
		if (touch_value_raw != 0) {
			touch_value = true;
		}else {
			touch_value = false;
		}

		if (touch_value_last == NULL) {
			touch_value_last = k_malloc(sizeof(bool));
			*touch_value_last = touch_value;
		} 
		if (*touch_value_last != touch_value && touch_value == true) {
			valve_toggle(OD_touchValveIndex);
		}
		*touch_value_last = touch_value;
		k_sleep(K_MSEC(touch_periode));
	}
	// if (wdg_id >= 0) {
	// 	watchdog_delete(wdg_id);
	// }
	CO_LOCK_OD();
	OD_touchEnable = 0;
	CO_UNLOCK_OD();
	k_free(touch_value_last);
}
```

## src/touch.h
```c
#ifndef _TOUCH_H
#define _TOUCH_H

#include <zephyr/kernel.h>

#if !DT_NODE_EXISTS(DT_NODELABEL(touch_sw))
#error "Overlay for touch_sw output node not properly defined."
#endif
#if !DT_NODE_EXISTS(DT_NODELABEL(touch1))
#error "Overlay for touch1 output node not properly defined."
#endif

int touch_init(void);
void touch_func(void *d0, void *d1, void *d2);
int touch_enable(bool value);

#endif /* _TOUCH_H */
```

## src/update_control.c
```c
#include "update_control.h"

#if defined(CONFIG_CANOPENNODE_PROGRAM_DOWNLOAD)
#include <string.h>
#include <zephyr/dfu/mcuboot.h>
#include <zephyr/logging/log.h>

LOG_MODULE_REGISTER(update_control, CONFIG_CANOPENNODE_LOG_LEVEL);

#define PROGRAM_CONTROL 0x1f51
#define CONFIRM_IMAGE 0x80

static CO_SDO_abortCode_t (*upstream_control)(CO_ODF_arg_t *);

static CO_SDO_abortCode_t software_version(CO_ODF_arg_t *arg)
{
	static const char version[] = CONFIG_MCUBOOT_IMGTOOL_SIGN_VERSION;

	_Static_assert(sizeof(version) > 1, "Firmware version must not be empty");
	_Static_assert(sizeof(version) - 1 <= CONFIG_CANOPENNODE_SDO_BUFFER_SIZE,
		       "Firmware version must fit the SDO buffer");
	if (!arg->reading) {
		return CO_SDO_AB_READONLY;
	}
	/* Exclude the C terminator: the gateway compares the VISIBLE_STRING. */
	memcpy(arg->data, version, sizeof(version) - 1);
	arg->dataLength = sizeof(version) - 1;
	arg->dataLengthTotal = sizeof(version) - 1;
	return CO_SDO_AB_NONE;
}

static CO_SDO_abortCode_t program_control(CO_ODF_arg_t *arg)
{
	if (arg->reading || arg->subIndex != 1U || arg->data[0] != CONFIRM_IMAGE) {
		return upstream_control(arg);
	}

	/*
	 * 0x80 is Zephyr's image-confirmation extension, not a program stop/start.
	 * The gateway may verify a test image after bringing it OPERATIONAL,
	 * then confirm it without another NMT transition.
	 * Keep STOP/CLEAR/START subject to upstream's PRE-OPERATIONAL requirement,
	 * but permit explicit confirmation in either active NMT state.
	 */
	memcpy(arg->data, arg->ODdataStorage, sizeof(uint8_t));
	if (!boot_is_img_confirmed()) {
		int err = boot_write_img_confirmed();

		if (err != 0) {
			LOG_ERR("Image confirmation failed: %d", err);
			return CO_SDO_AB_HW;
		}
		LOG_INF("Running image confirmed");
	}
	return CO_SDO_AB_NONE;
}

void wasserverteiler_update_control_attach(CO_SDO_t *sdo)
{
	uint16_t entry = CO_OD_find(sdo, PROGRAM_CONTROL);

	if (entry == 0xffffU || sdo->ODExtensions[entry].pODFunc == NULL) {
		LOG_ERR("Program control callback absent");
		return;
	}
	upstream_control = sdo->ODExtensions[entry].pODFunc;
	CO_OD_configure(sdo, PROGRAM_CONTROL, program_control, NULL, 0, 0);
	CO_OD_configure(sdo, 0x100a, software_version, NULL, 0, 0);
}
#endif
```

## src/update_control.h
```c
#ifndef WASSERVERTEILER_UPDATE_CONTROL_H
#define WASSERVERTEILER_UPDATE_CONTROL_H

#include <canopennode.h>

void wasserverteiler_update_control_attach(CO_SDO_t *sdo);

#endif
```

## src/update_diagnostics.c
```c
/* Optional, non-invasive instrumentation of the upstream download callbacks. */
#include "update_diagnostics.h"

#if defined(CONFIG_WASSERVERTEILER_UPDATE_DIAGNOSTICS)
#include <zephyr/drivers/hwinfo.h>
#include <zephyr/init.h>
#include <zephyr/logging/log.h>
#include <zephyr/logging/log_ctrl.h>

LOG_MODULE_REGISTER(update_diagnostics, LOG_LEVEL_INF);

/* Read only after the transfer: live debugger accesses can disturb timing. */
volatile struct {
	uint32_t reset_cause;
	uint32_t bytes;
	uint32_t calls;
	uint32_t maximum_data_us;
	uint32_t maximum_control_us;
	uint32_t abort_code;
	uint32_t last_command;
	uint32_t last_callback_ms;
} wasserverteiler_update_diagnostics;

static CO_SDO_abortCode_t (*data_callback)(CO_ODF_arg_t *);
static CO_SDO_abortCode_t (*control_callback)(CO_ODF_arg_t *);

static int diagnostics_init(void)
{
	static const char *const noisy_sources[] = {
		"sensor", "touch",
	};
	uint32_t cause = 0;

	(void)hwinfo_get_reset_cause(&cause);
	wasserverteiler_update_diagnostics.reset_cause = cause;
	LOG_INF("Image %s, reset cause 0x%08x, watchdog support %u",
		CONFIG_MCUBOOT_IMGTOOL_SIGN_VERSION, cause,
		IS_ENABLED(CONFIG_WATCHDOG));
	(void)hwinfo_clear_reset_cause();
	for (size_t i = 0; i < ARRAY_SIZE(noisy_sources); i++) {
		int id = log_source_id_get(noisy_sources[i]);

		if (id >= 0) {
			log_filter_set(NULL, 0, id, LOG_LEVEL_NONE);
		}
	}
	return 0;
}

SYS_INIT(diagnostics_init, APPLICATION, 0);

static CO_SDO_abortCode_t record_data(CO_ODF_arg_t *arg)
{
	if (arg->reading || arg->subIndex != 1U) {
		return data_callback(arg);
	}

	uint32_t length = arg->dataLength;
	uint32_t start = k_cycle_get_32();
	CO_SDO_abortCode_t result;

	if (arg->firstSegment) {
		wasserverteiler_update_diagnostics.bytes = 0;
		wasserverteiler_update_diagnostics.calls = 0;
		wasserverteiler_update_diagnostics.maximum_data_us = 0;
		LOG_INF("Image download started: %u bytes", arg->dataLengthTotal);
	}
	result = data_callback(arg);
	uint32_t duration = k_cyc_to_us_floor32(k_cycle_get_32() - start);

	wasserverteiler_update_diagnostics.bytes += length;
	wasserverteiler_update_diagnostics.calls++;
	wasserverteiler_update_diagnostics.maximum_data_us =
		MAX(wasserverteiler_update_diagnostics.maximum_data_us, duration);
	wasserverteiler_update_diagnostics.abort_code = result;
	wasserverteiler_update_diagnostics.last_callback_ms = k_uptime_get_32();
	if (arg->lastSegment || result != CO_SDO_AB_NONE || duration > 100000U) {
		LOG_INF("Download bytes=%u max=%u us abort=%x final=%u",
			wasserverteiler_update_diagnostics.bytes,
			wasserverteiler_update_diagnostics.maximum_data_us,
			(unsigned int)result, arg->lastSegment);
	}
	return result;
}

static CO_SDO_abortCode_t record_control(CO_ODF_arg_t *arg)
{
	uint8_t command = arg->reading ? 0xff : arg->data[0];
	uint32_t start = k_cycle_get_32();
	CO_SDO_abortCode_t result = control_callback(arg);
	uint32_t duration = k_cyc_to_us_floor32(k_cycle_get_32() - start);

	if (!arg->reading) {
		wasserverteiler_update_diagnostics.last_command = command;
		wasserverteiler_update_diagnostics.maximum_control_us =
			MAX(wasserverteiler_update_diagnostics.maximum_control_us, duration);
		LOG_INF("Control %u: %u us, abort=%x", command, duration,
			(unsigned int)result);
	}
	return result;
}

void wasserverteiler_update_diagnostics_attach(CO_SDO_t *sdo)
{
	uint16_t data = CO_OD_find(sdo, 0x1f50);
	uint16_t control = CO_OD_find(sdo, 0x1f51);

	if (data == 0xffffU || control == 0xffffU) {
		LOG_ERR("Update objects absent");
		return;
	}
	data_callback = sdo->ODExtensions[data].pODFunc;
	control_callback = sdo->ODExtensions[control].pODFunc;
	if (data_callback == NULL || control_callback == NULL) {
		LOG_ERR("Update callbacks absent");
		return;
	}
	CO_OD_configure(sdo, 0x1f50, record_data, NULL, 0, 0);
	CO_OD_configure(sdo, 0x1f51, record_control, NULL, 0, 0);
}
#endif
```

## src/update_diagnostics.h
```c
#ifndef WASSERVERTEILER_UPDATE_DIAGNOSTICS_H
#define WASSERVERTEILER_UPDATE_DIAGNOSTICS_H

#include <canopennode.h>

#if defined(CONFIG_WASSERVERTEILER_UPDATE_DIAGNOSTICS)
void wasserverteiler_update_diagnostics_attach(CO_SDO_t *sdo);
#endif

#endif
```
